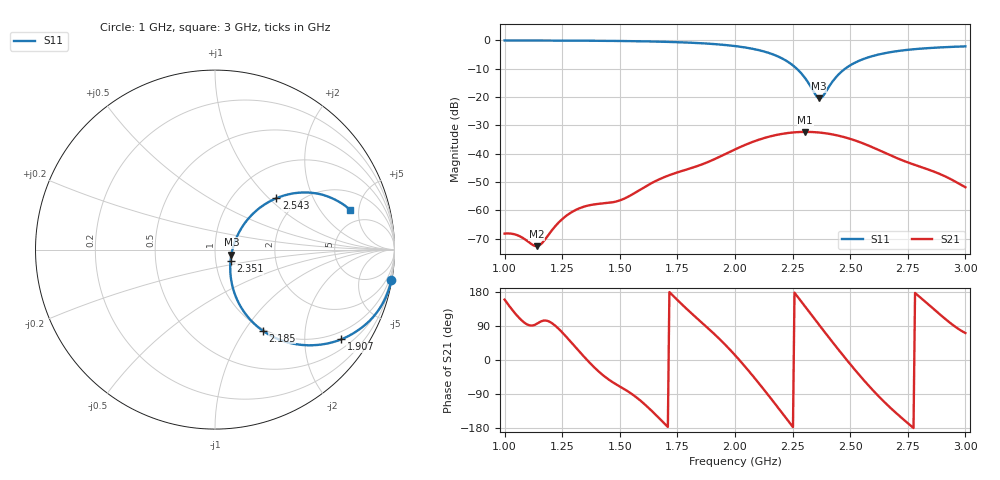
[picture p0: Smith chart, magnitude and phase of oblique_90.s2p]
! TOUCHSTONE file generated by CST MICROWAVE STUDIO
! Date and time: Tue Mar 18 00:01:40 2025
! Project name: oblique.cst
! Parameters = {Tilt=30; Fracture=1; B=12.5; D=160; F=15; Feed=2.85625; L=100; M=50; R=0.384908; S=2; Theta=270; length=57.125; wave=114.25}
! Header version: 2024
! Port assignment regex: !\s*Touchstone port\s*([0-9]+)\s*=\s*(CST MWS port|CST DES external port|CST DES block port)\s*(.+)\s* \(\"(.*)\"\)(\s*mode\s*([0-9]+))?.*
! Touchstone port assignment:
! Touchstone port 1 = CST MWS port 1 ("")
! Touchstone port 2 = CST MWS port 2 ("")
# GHz S DB R 50
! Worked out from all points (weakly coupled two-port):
!   303 points, 1 GHz to 3 GHz, reference 50 ohm
!   highest |S21| = -32.27 dB at 2.305 GHz (marker M1); lowest = -72.6 dB at 1.139 GHz (marker M2)
!   lowest |S11| = -20.4 dB at 2.364 GHz (marker M3), VSWR 1.21, Z = 60 - j3.31 ohm
!   |S11| at or under -10 dB: 2.268 GHz to 2.478 GHz (209.7 MHz wide, 8.84 % of centre)
!   S12 and S22 are empty: the file has one direction only
!   S11 on the Smith chart (normalised r, x): 1 GHz: 0, -12; 1.907 GHz: 0.75, -2.96; 2.185 GHz: 0.98, -1.21; 2.351 GHz: 1.18, -0.15; 2.543 GHz: 1.55, +1.11; 3 GHz: 3.49, +4.02
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1  -0.02 -9.8  -68.15 159.4  -200.00 0.0  -200.00 0.0
1.0596  -0.03 -10.6  -68.85 113.4  -200.00 0.0  -200.00 0.0
1.13907  -0.04 -11.8  -72.58 95.3  -200.00 0.0  -200.00 0.0
1.16556  -0.04 -12.2  -71.22 103.5  -200.00 0.0  -200.00 0.0
1.25166  -0.07 -13.7  -62.92 71.8  -200.00 0.0  -200.00 0.0
1.33775  -0.10 -15.3  -58.83 13.4  -200.00 0.0  -200.00 0.0
1.50331  -0.21 -19.2  -56.35 -71.1  -200.00 0.0  -200.00 0.0
1.66887  -0.44 -24.3  -49.09 -152.4  -200.00 0.0  -200.00 0.0
1.90728  -1.28 -35.4  -42.03 70.2  -200.00 0.0  -200.00 0.0
2  -2.00 -41.8  -38.45 12.9  -200.00 0.0  -200.00 0.0
2.18543  -5.62 -59.5  -33.25 -124.6  -200.00 0.0  -200.00 0.0
2.25166  -8.84 -65.5  -32.47 -177.1  -200.00 0.0  -200.00 0.0
2.30464  -13.33 -63.9  -32.27 140.7  -200.00 0.0  -200.00 0.0
2.33775  -17.60 -50.0  -32.33 114.3  -200.00 0.0  -200.00 0.0
2.35099  -19.37 -36.4  -32.40 103.8  -200.00 0.0  -200.00 0.0
2.36424  -20.41 -16.7  -32.49 93.3  -200.00 0.0  -200.00 0.0
2.37748  -20.03 4.6  -32.60 82.9  -200.00 0.0  -200.00 0.0
2.45695  -11.42 43.2  -33.76 21.3  -200.00 0.0  -200.00 0.0
2.54305  -7.03 40.0  -35.93 -42.1  -200.00 0.0  -200.00 0.0
2.66887  -4.23 31.1  -40.32 -122.9  -200.00 0.0  -200.00 0.0
2.88742  -2.49 20.1  -47.07 121.3  -200.00 0.0  -200.00 0.0
3  -2.11 16.4  -51.79 71.1  -200.00 0.0  -200.00 0.0
